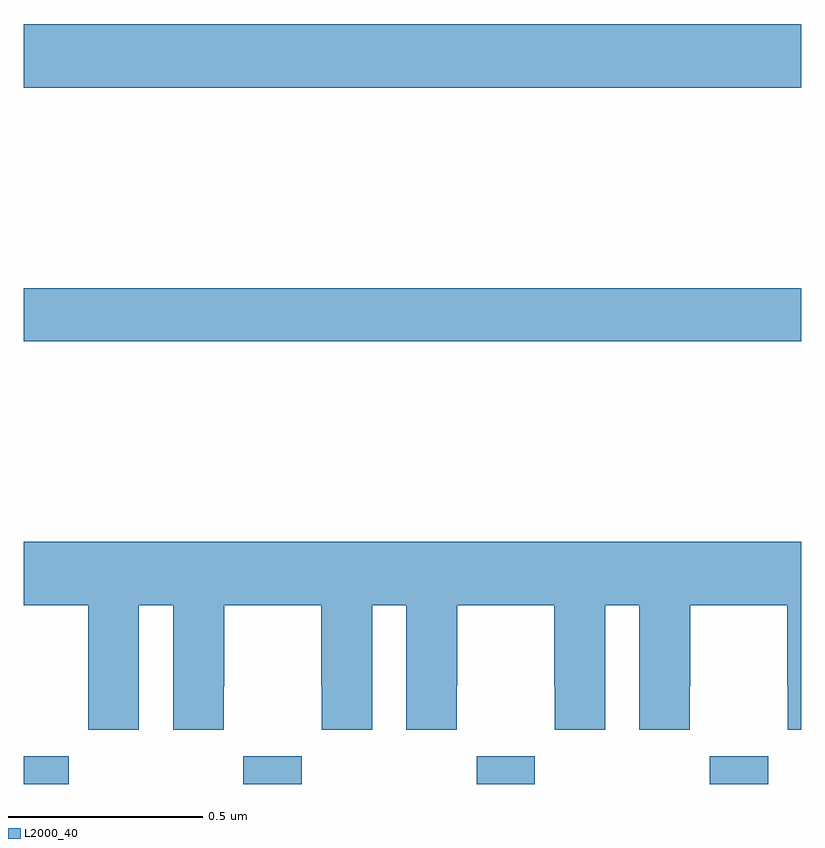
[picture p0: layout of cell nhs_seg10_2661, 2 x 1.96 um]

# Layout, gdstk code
import gdstk
lib = gdstk.Library(unit=1e-6, precision=1e-09)
def R(c, l, rs):  # rectangles x0, y0, x1, y1
    for r in rs: c.add(gdstk.rectangle(r[:2], r[2:], *l))
def A(c, l, x, y, w, h, nx, ny, dx, dy):  # array of equal rectangles
    R(c, l, [(x+i*dx, y+j*dy, x+i*dx+w, y+j*dy+h) for i in range(nx) for j in range(ny)])
def P(c, l, *ps):  # polygons
    for p in ps: c.add(gdstk.Polygon(p, *l))
L2000_40 = (2000, 40)

nhs_seg10_2661 = lib.new_cell('nhs_seg10_2661')
A(nhs_seg10_2661, L2000_40, 143.565, 1322.5, 0.15, 0.072, 3, 1, 0.6, 0)
R(nhs_seg10_2661, L2000_40, [(143,1322.5,143.115,1322.572), (143,1323.64,145,1323.776), (143,1324.292,145,1324.456)])
P(nhs_seg10_2661, L2000_40, [(143.296,1322.96),(143.384,1322.96),(143.384,1322.64),(143.514,1322.64),(143.514,1322.752),(143.515,1322.752),(143.515,1322.96),(143.765,1322.96),(143.765,1322.752),(143.766,1322.752),(143.766,1322.64),(143.896,1322.64),(143.896,1322.96),(143.984,1322.96),(143.984,1322.64),(144.114,1322.64),(144.114,1322.752),(144.115,1322.752),(144.115,1322.96),(144.365,1322.96),(144.365,1322.752),(144.366,1322.752),(144.366,1322.64),(144.496,1322.64),(144.496,1322.96),(144.584,1322.96),(144.584,1322.64),(144.714,1322.64),(144.714,1322.752),(144.715,1322.752),(144.715,1322.96),(144.965,1322.96),(144.965,1322.752),(144.966,1322.752),(144.966,1322.64),(145,1322.64),(145,1323.124),(143,1323.124),(143,1322.96),(143.165,1322.96),(143.165,1322.752),(143.166,1322.752),(143.166,1322.64),(143.296,1322.64)])

lib.write_gds('nhs_seg10_2661.gds')
